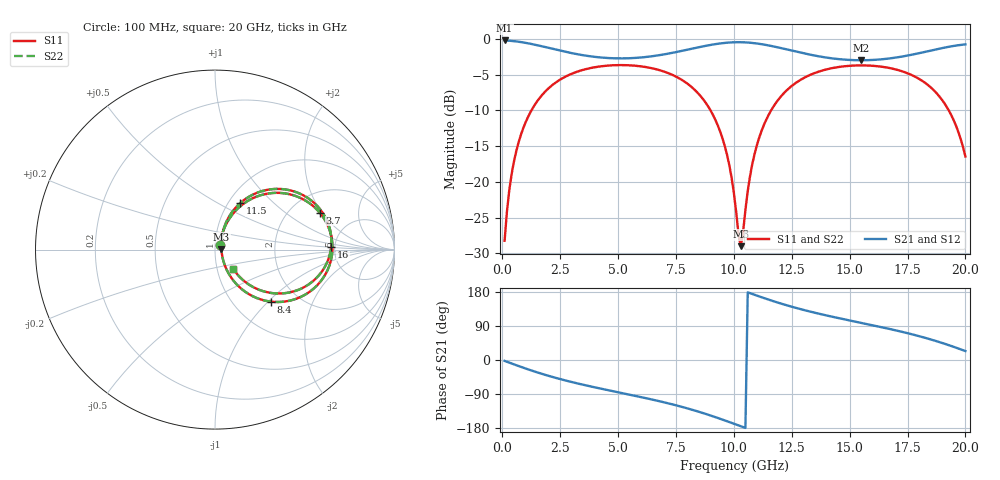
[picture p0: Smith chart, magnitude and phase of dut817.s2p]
! Touchstone file exported from HFSS 2026.1.0
!  File:  C:/ffzhzh/LocalFiles/Ansys_Project_Files/temp_train_TSV_RDL_817_1783264898_30076.aedt
!  Generated:  11:35:35 PM Jul  5, 2026
!  Design:  TSV_RDL
!  Project:  temp_train_TSV_RDL_817_1783264898_30076
! Variables:
!  h_bsmrdl = 4.27um
!  h_ox = 20um
!  h_rdl = 5um
!  h_sub = 71.63um
!  h_tmrdl = 5.66um
!  h_tsv = 71.63um
!  h_via = 3um
!  l_bsmrdl = 559.5um
!  l_sub = 5846.15um
!  l_tmrdl = 914.2um
!  m_sub = 200um
!  pitch = 57.96um
!  r_tsv = 6.6um
!  s_tmrdl = 10um
!  w_bsmrdl = 25.62um
!  w_sub = 500um
!  w_tmrdl = 11.33um
!  x_tsv_center1 = 919.865um
!  x_tsv_center2 = 1504.985um
!  x_tsv_center3 = 2430.515um
!  x_tsv_center4 = 3015.635um
!  x_tsv_center5 = 3941.165um
!  x_tsv_center6 = 4526.285um
# GHz S MA R 50.000000
! Terminal data exported
! Port[1] = TM_RDL1_1_T1
! Port[2] = TM_RDL5_1_T1
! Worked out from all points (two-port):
!   200 points, 100 MHz to 20 GHz, reference 50 ohm
!   highest |S21| = -0.24 dB at 100 MHz (marker M1); lowest = -3.0 dB at 15.5 GHz (marker M2)
!   |S21| within 3 dB of the highest: start of sweep to end of sweep
!   lowest |S11| = -29.0 dB at 10.3 GHz (marker M3), VSWR 1.07, Z = 53.7 + j0.381 ohm
!   |S11| at or under -10 dB: start of sweep to 1.261 GHz; 8.99 GHz to 11.61 GHz (2.623 GHz wide, 25.5 % of centre); 19.28 GHz to end of sweep
!   |S22| runs from -29.0 to -3.7 dB; largest |S21 - S12| = 1.7e-14
!   S11 on the Smith chart (normalised r, x): 100 MHz: 1.06, +0.06; 3.7 GHz: 2.85, +1.91; 8.4 GHz: 1.47, -1.04; 11.5 GHz: 1.13, +0.64; 16 GHz: 4.66, +0.20; 20 GHz: 1.20, -0.27
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0.1  0.03879 43.9  0.9728 -2.3  0.9728 -2.3  0.03879 43.9
! Gamma 0 0 0 0
! Port Impedance 50 0 50 0
0.3  0.08705 64.3  0.9686 -6.9  0.9686 -6.9  0.08705 64.3
0.5  0.1379 66.5  0.9621 -11.4  0.9621 -11.4  0.1379 66.5
1.1  0.2817 59.6  0.9303 -24.4  0.9303 -24.4  0.2817 59.6
2.2  0.4799 41.2  0.848 -45.3  0.848 -45.3  0.4799 41.2
3.5  0.6068 22.1  0.7666 -65.4  0.7666 -65.4  0.6068 22.1
3.7  0.6184 19.5  0.7579 -68.2  0.7579 -68.2  0.6184 19.5
5.3  0.654 -0.4  0.7294 -88.9  0.7294 -88.9  0.654 -0.4
6.8  0.6027 -19.3  0.7685 -108.9  0.7685 -108.9  0.6027 -19.3
8.4  0.4251 -43.0  0.8665 -134.9  0.8665 -134.9  0.4251 -43.0
9.5  0.2036 -59.2  0.9312 -157.1  0.9312 -157.1  0.2036 -59.2
9.8  0.1319 -59.9  0.941 -163.6  0.941 -163.6  0.1318 -60.0
10.1  0.06172 -46.9  0.9456 -170.3  0.9456 -170.3  0.06164 -47.0
10.3  0.03554 5.7  0.9456 -174.8  0.9456 -174.8  0.0354 5.7
10.8  0.1338 67.5  0.9347 174.2  0.9347 174.2  0.1338 67.6
11.5  0.2932 61.6  0.8981 159.3  0.8981 159.3  0.2932 61.6
13.4  0.5682 33.1  0.7679 126.2  0.7679 126.2  0.5682 33.1
15.5  0.6515 7.0  0.7074 98.0  0.7074 98.0  0.6515 7.0
16  0.6472 1.1  0.7109 91.6  0.7109 91.6  0.6471 1.1
16.7  0.6254 -7.4  0.7276 82.3  0.7276 82.3  0.6254 -7.4
18.8  0.4088 -36.5  0.847 48.8  0.847 48.8  0.4087 -36.6
20  0.1505 -46.8  0.9124 23.6  0.9124 23.6  0.1503 -47.0
